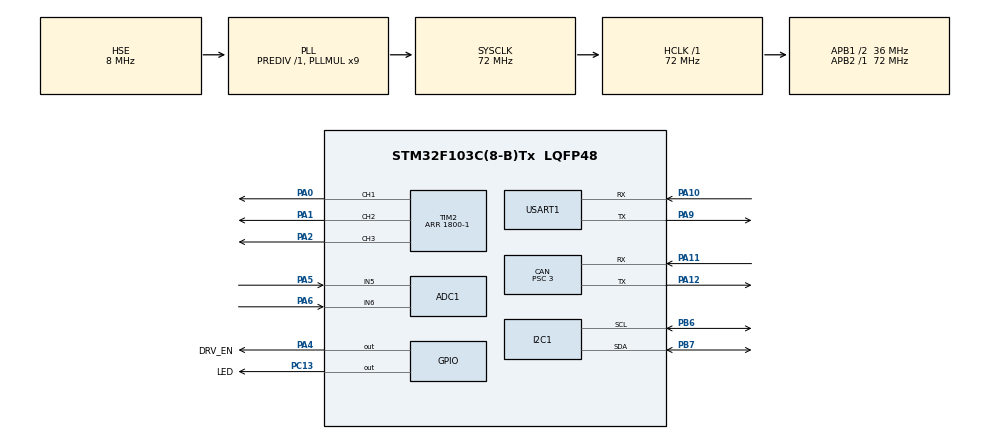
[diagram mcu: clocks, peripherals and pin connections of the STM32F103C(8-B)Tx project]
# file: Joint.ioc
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ADC1.Channel-2\#ChannelInjectedConversion=ADC_CHANNEL_5
ADC1.Channel-3\#ChannelInjectedConversion=ADC_CHANNEL_6
ADC1.ContinuousConvMode=DISABLE
ADC1.EnableInjectedConversion=ENABLE
ADC1.EnableRegularConversion=DISABLE
ADC1.ExternalTrigInjecConv=ADC_EXTERNALTRIGINJECCONV_T2_TRGO
ADC1.InjNumberOfConversion=2
ADC1.InjectedOffset-2\#ChannelInjectedConversion=0
ADC1.InjectedOffset-3\#ChannelInjectedConversion=0
ADC1.InjectedRank-2\#ChannelInjectedConversion=1
ADC1.InjectedRank-3\#ChannelInjectedConversion=2
ADC1.SamplingTime-2\#ChannelInjectedConversion=ADC_SAMPLETIME_7CYCLES_5
ADC1.SamplingTime-3\#ChannelInjectedConversion=ADC_SAMPLETIME_7CYCLES_5
ADC1.master=1
CAN.BS1=CAN_BS1_9TQ
CAN.BS2=CAN_BS2_2TQ
CAN.CalculateBaudRate=999999
CAN.CalculateTimeBit=1000
CAN.CalculateTimeQuantum=83.33333333333334
CAN.NART=ENABLE
CAN.Prescaler=3
I2C1.I2C_Mode=I2C_Fast
Mcu.Family=STM32F1
Mcu.Name=STM32F103C(8-B)Tx
Mcu.Package=LQFP48
NVIC.ADC1_2_IRQn=true\:0\:0\:false\:false\:true\:true\:true\:true
NVIC.PriorityGroup=NVIC_PRIORITYGROUP_4
NVIC.TIM4_IRQn=true\:0\:0\:false\:false\:true\:true\:true\:true
NVIC.USART1_IRQn=true\:0\:0\:false\:false\:true\:true\:true\:true
NVIC.USB_LP_CAN1_RX0_IRQn=true\:0\:0\:false\:false\:true\:true\:true\:true
PA0-WKUP.Signal=S_TIM2_CH1_ETR
PA1.Signal=S_TIM2_CH2
PA10.Mode=Asynchronous
PA10.Signal=USART1_RX
PA11.Mode=CAN_Activate
PA11.Signal=CAN_RX
PA12.Mode=CAN_Activate
PA12.Signal=CAN_TX
PA13.Mode=Serial_Wire
PA13.Signal=SYS_JTMS-SWDIO
PA14.Mode=Serial_Wire
PA14.Signal=SYS_JTCK-SWCLK
PA2.Signal=S_TIM2_CH3
PA4.GPIO_Label=DRV_EN
PA4.Signal=GPIO_Output
PA5.Signal=ADCx_IN5
PA6.Signal=ADCx_IN6
PA9.Mode=Asynchronous
PA9.Signal=USART1_TX
PB6.Mode=I2C
PB6.Signal=I2C1_SCL
PB7.Mode=I2C
PB7.Signal=I2C1_SDA
PC13-TAMPER-RTC.GPIO_Label=LED
PC13-TAMPER-RTC.GPIO_ModeDefaultOutputPP=GPIO_MODE_OUTPUT_OD
PC13-TAMPER-RTC.GPIO_PuPd=GPIO_NOPULL
PC13-TAMPER-RTC.Signal=GPIO_Output
PD0-OSC_IN.Mode=HSE-External-Oscillator
PD0-OSC_IN.Signal=RCC_OSC_IN
PD1-OSC_OUT.Mode=HSE-External-Oscillator
PD1-OSC_OUT.Signal=RCC_OSC_OUT
ProjectManager.HeapSize=0x200
ProjectManager.StackSize=0x400
ProjectManager.TargetToolchain=CMake
RCC.ADCPresc=RCC_ADCPCLK2_DIV6
RCC.AHBFreq_Value=72000000
RCC.APB1CLKDivider=RCC_HCLK_DIV2
RCC.APB1Freq_Value=36000000
RCC.APB1TimFreq_Value=72000000
RCC.APB2Freq_Value=72000000
RCC.APB2TimFreq_Value=72000000
RCC.HCLKFreq_Value=72000000
RCC.PLLMUL=RCC_PLL_MUL9
RCC.PLLSourceVirtual=RCC_PLLSOURCE_HSE
RCC.SYSCLKFreq_VALUE=72000000
RCC.SYSCLKSource=RCC_SYSCLKSOURCE_PLLCLK
RCC.USBFreq_Value=72000000
SH.ADCx_IN5.0=ADC1_IN5,IN5
SH.ADCx_IN6.0=ADC1_IN6,IN6
SH.S_TIM2_CH1_ETR.0=TIM2_CH1,PWM Generation1 CH1
SH.S_TIM2_CH2.0=TIM2_CH2,PWM Generation2 CH2
SH.S_TIM2_CH3.0=TIM2_CH3,PWM Generation3 CH3
TIM2.AutoReloadPreload=TIM_AUTORELOAD_PRELOAD_ENABLE
TIM2.Channel-PWM\ Generation1\ CH1=TIM_CHANNEL_1
TIM2.Channel-PWM\ Generation2\ CH2=TIM_CHANNEL_2
TIM2.Channel-PWM\ Generation3\ CH3=TIM_CHANNEL_3
TIM2.Channel-PWM\ Generation4\ No\ Output=TIM_CHANNEL_4
TIM2.CounterMode=TIM_COUNTERMODE_CENTERALIGNED1
TIM2.OCMode_PWM-PWM\ Generation1\ CH1=TIM_OCMODE_PWM1
TIM2.OCMode_PWM-PWM\ Generation2\ CH2=TIM_OCMODE_PWM1
TIM2.OCMode_PWM-PWM\ Generation3\ CH3=TIM_OCMODE_PWM1
TIM2.OCMode_PWM-PWM\ Generation4\ No\ Output=TIM_OCMODE_PWM2
TIM2.Period=1800-1
TIM2.Pulse-PWM\ Generation4\ No\ Output=1679
TIM2.TIM_MasterOutputTrigger=TIM_TRGO_OC4REF
TIM2.TIM_MasterSlaveMode=TIM_MASTERSLAVEMODE_ENABLE
TIM4.Period=0
TIM4.Prescaler=72-1
USART1.VirtualMode=VM_ASYNC
VP_TIM2_VS_ClockSourceINT.Mode=Internal
VP_TIM2_VS_no_output4.Mode=PWM Generation4 No Output
VP_TIM4_VS_ClockSourceINT.Mode=Internal
board=custom

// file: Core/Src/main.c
/* USER CODE BEGIN Header */
/**
  ******************************************************************************
  * @file           : main.c
  * @brief          : 主程序
  ******************************************************************************
  * @attention
  *
  * Copyright (c) 2026 STMicroelectronics.
  * All rights reserved.
  *
  * This software is licensed under terms that can be found in the LICENSE file
  * in the root directory of this software component.
  * If no LICENSE file comes with this software, it is provided AS-IS.
  *
  ******************************************************************************
  */
/* USER CODE END Header */
#include "main.h"
#include "adc.h"
#include "can.h"
#include "i2c.h"
#include "tim.h"
#include "usart.h"
#include "gpio.h"

/* USER CODE BEGIN Includes */
#include "MotorApp.h"
#include "CanApp.h"
/* USER CODE END Includes */

void SystemClock_Config(void);

int main(void)
{

  /* MCU Configuration--------------------------------------------------------*/

  /* Reset of all peripherals, Initializes the Flash interface and the Systick. */
  HAL_Init();

  /* Configure the system clock */
  SystemClock_Config();

  /* Initialize all configured peripherals */
  MX_GPIO_Init();
  MX_ADC1_Init();
  MX_CAN_Init();
  MX_I2C1_Init();
  MX_TIM2_Init();
  MX_TIM4_Init();
  MX_USART1_UART_Init();
  /* USER CODE BEGIN 2 */

  HAL_Delay(500);

  if (MotorApp_Init() != HAL_OK)
  {
    Error_Handler();
  }
  if (CanApp_Init() != HAL_OK)
  {
    MotorApp_Disable(MOTOR_APP_FAULT);
    Error_Handler();
  }

  /* USER CODE END 2 */

  /* Infinite loop */
  /* USER CODE BEGIN WHILE */
  while (1)
  {
    CanApp_ProcessReceivedCommands();
    MotorApp_Update();

    /* USER CODE END WHILE */

  }
}

void SystemClock_Config(void)
{
  RCC_OscInitTypeDef RCC_OscInitStruct = {0};
  RCC_ClkInitTypeDef RCC_ClkInitStruct = {0};
  RCC_PeriphCLKInitTypeDef PeriphClkInit = {0};

  /** Initializes the RCC Oscillators according to the specified parameters
  * in the RCC_OscInitTypeDef structure.
  */
  RCC_OscInitStruct.OscillatorType = RCC_OSCILLATORTYPE_HSE;
  RCC_OscInitStruct.HSEState = RCC_HSE_ON;
  RCC_OscInitStruct.HSEPredivValue = RCC_HSE_PREDIV_DIV1;
  RCC_OscInitStruct.HSIState = RCC_HSI_ON;
  RCC_OscInitStruct.PLL.PLLState = RCC_PLL_ON;
  RCC_OscInitStruct.PLL.PLLSource = RCC_PLLSOURCE_HSE;
  RCC_OscInitStruct.PLL.PLLMUL = RCC_PLL_MUL9;
  if (HAL_RCC_OscConfig(&RCC_OscInitStruct) != HAL_OK)
  {
    Error_Handler();
  }

  /** Initializes the CPU, AHB and APB buses clocks
  */
  RCC_ClkInitStruct.ClockType = RCC_CLOCKTYPE_HCLK|RCC_CLOCKTYPE_SYSCLK
                              |RCC_CLOCKTYPE_PCLK1|RCC_CLOCKTYPE_PCLK2;
  RCC_ClkInitStruct.SYSCLKSource = RCC_SYSCLKSOURCE_PLLCLK;
  RCC_ClkInitStruct.AHBCLKDivider = RCC_SYSCLK_DIV1;
  RCC_ClkInitStruct.APB1CLKDivider = RCC_HCLK_DIV2;
  RCC_ClkInitStruct.APB2CLKDivider = RCC_HCLK_DIV1;

  if (HAL_RCC_ClockConfig(&RCC_ClkInitStruct, FLASH_LATENCY_2) != HAL_OK)
  {
    Error_Handler();
  }
  PeriphClkInit.PeriphClockSelection = RCC_PERIPHCLK_ADC;
  PeriphClkInit.AdcClockSelection = RCC_ADCPCLK2_DIV6;
  if (HAL_RCCEx_PeriphCLKConfig(&PeriphClkInit) != HAL_OK)
  {
    Error_Handler();
  }
}

/* USER CODE BEGIN 4 */
/*
 * 以 PWM 频率（20 kHz）运行，每次 TIM2 TRGO 触发后执行一次。
 * 触发点位于计数器峰值前，此时处于三相低侧 MOS 管
 * 同时导通的窗口，电流流经 PGND 采样电阻。
 */
void HAL_ADCEx_InjectedConvCpltCallback(ADC_HandleTypeDef *hadc)
{
  if (hadc->Instance != ADC1)
  {
    return;
  }

  MotorApp_OnAdcSample(
      (uint16_t)HAL_ADCEx_InjectedGetValue(hadc, ADC_INJECTED_RANK_1),
      (uint16_t)HAL_ADCEx_InjectedGetValue(hadc, ADC_INJECTED_RANK_2));

  /*
   * STM32F1 HAL 的特殊处理（stm32f1xx_hal_adc.c 中的 HAL_ADC_IRQHandler）：
   * 常规组配置为软件启动、单次转换时，
   * （本项目未启用常规组，配置正是如此），HAL 会在
   * 首次注入组转换后关闭 JEOC 中断。
   * 硬件仍会在每次 TIM2 TRGO 时进行转换，因此只需重新使能中断。
   * 使能前先清除 JEOC 标志，以免误触发再次进入中断。
   */
  __HAL_ADC_CLEAR_FLAG(hadc, ADC_FLAG_JEOC);
  __HAL_ADC_ENABLE_IT(hadc, ADC_IT_JEOC);
}
/* USER CODE END 4 */

void Error_Handler(void)
{
  /* USER CODE BEGIN Error_Handler_Debug */
  /* 可在此处添加代码，报告 HAL 返回的错误状态 */
  __disable_irq();
  while (1)
  {
  }
  /* USER CODE END Error_Handler_Debug */
}
#ifdef USE_FULL_ASSERT
/**
  * @brief  Reports the name of the source file and the source line number
  *         where the assert_param error has occurred.
  * @param  file: pointer to the source file name
  * @param  line: assert_param error line source number
  * @retval None
  */
void assert_failed(uint8_t *file, uint32_t line)
{
  /* USER CODE BEGIN 6 */
  /* 可在调试器中查看 file 和 line，定位断言失败的位置。 */
  /* USER CODE END 6 */
}
#endif /* USE_FULL_ASSERT */
